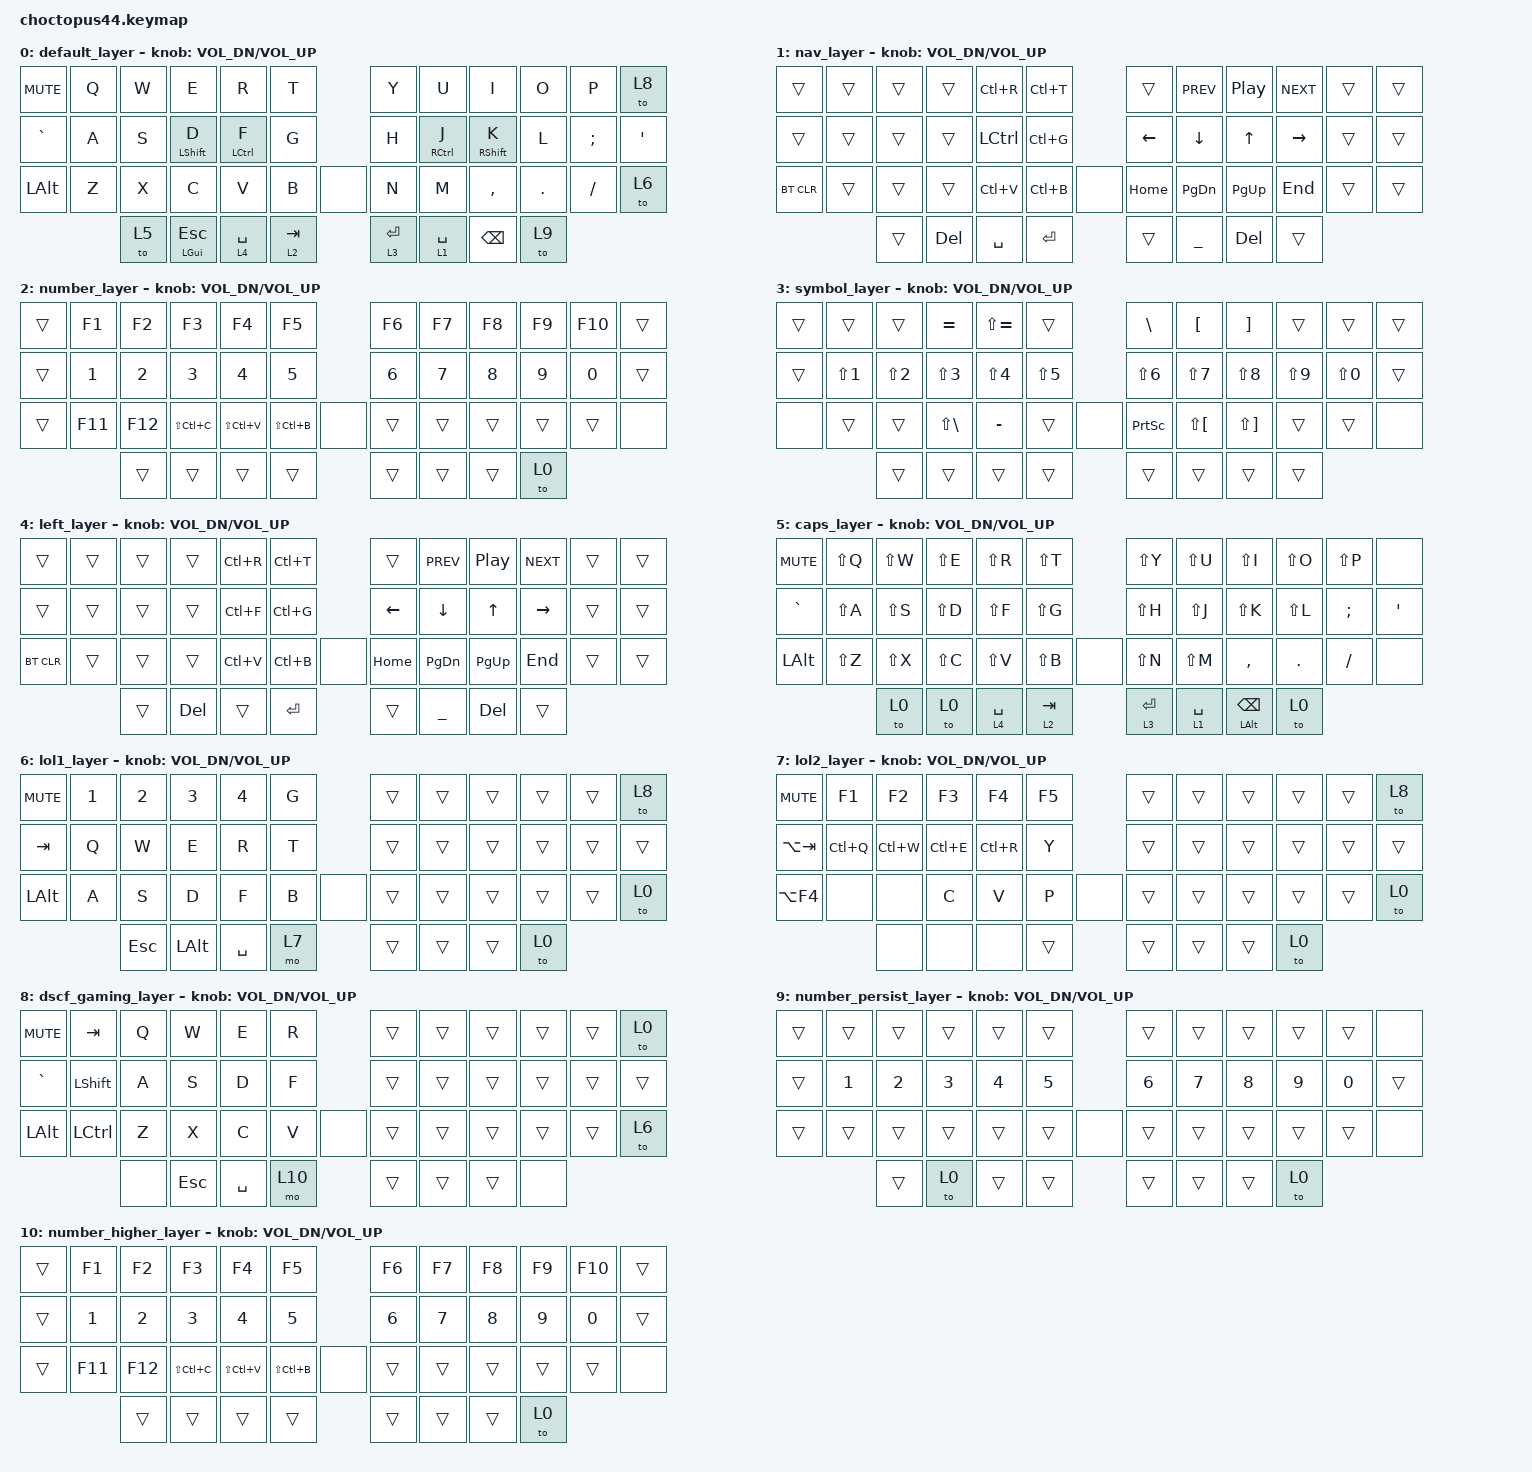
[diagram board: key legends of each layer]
/*
 * Copyright (c) 2021 The ZMK Contributors
 *
 * SPDX-License-Identifier: MIT
 */

#include <behaviors.dtsi>
#include <dt-bindings/zmk/keys.h>
#include <dt-bindings/zmk/bt.h>

&mt {
    tapping-term-ms = <210>; // must be greater than quick tap!
    flavor = "tap-preferred";
    quick-tap-ms = <190>; // must be smaler than tapping term!
};

/ {

    leds {
        compatible = "gpio-leds";
        user_led: led_0 {
            gpios = <&pro_micro 10 GPIO_ACTIVE_HIGH>;
            label = "User LED";
        };
    };

    aliases {
        indicator-led = &user_led;
    };
};

/ {
  keymap {
    compatible = "zmk,keymap";

    // LAYER 0 BASE QWERTY
    default_layer {
      bindings = <
        &kp C_MUTE  &kp Q     &kp W       &kp E         &kp R        &kp T                  &kp Y        &kp U        &kp I          &kp O    &kp P     &to 8
        &kp GRAVE   &kp A     &kp S       &mt LSHIFT D  &mt LCTRL F  &kp G                  &kp H        &mt RCTRL J  &mt RSHIFT K   &kp L    &kp SEMI  &kp SQT
        &kp LALT    &kp Z     &kp X       &kp C         &kp V        &kp B       &none      &kp N        &kp M        &kp COMMA      &kp DOT  &kp FSLH  &to 6
                              &to 5       &mt LGUI ESC  &lt 4 SPACE  &lt 2 TAB              &lt 3 ENTER  &lt 1 SPACE  &kp BSPC       &to 9
      >;
      sensor-bindings = <&inc_dec_kp C_VOL_DN C_VOL_UP>;
    };

    // LAYER 1 NAVIGATION RIGHT
    nav_layer {
      bindings = <
        &trans   &trans   &trans   &trans   &kp LC(R)  &kp LC(T)              &trans     &kp C_PREV  &kp C_PP   &kp C_NEXT  &trans   &trans
        &trans   &trans   &trans   &trans   &kp LCTRL  &kp LC(G)              &kp LEFT   &kp DOWN    &kp UP     &kp RIGHT   &trans   &trans
      &bt BT_CLR &trans   &trans   &trans   &kp LC(V)  &kp LC(B)    &none     &kp HOME   &kp PG_DN   &kp PG_UP  &kp END     &trans   &trans
                          &trans   &kp DEL  &kp SPACE  &kp ENTER              &trans     &kp UNDER   &kp DEL    &trans
      >;
      sensor-bindings = <&inc_dec_kp C_VOL_DN C_VOL_UP>;
    };

    // LAYER 2 NUMBERS
    number_layer  {
      bindings = <
        &trans   &kp F1    &kp F2     &kp F3      &kp F4       &kp F5                     &kp F6     &kp F7      &kp F8      &kp F9     &kp F10    &trans
        &trans   &kp N1    &kp N2     &kp N3      &kp N4       &kp N5                     &kp N6     &kp N7      &kp N8      &kp N9     &kp N0     &trans
        &trans   &kp F11  &kp F12  &kp LS(LC(C)) &kp LS(LC(V)) &kp LS(LC(B))  &none       &trans     &trans      &trans      &trans     &trans     &none
                           &trans     &trans      &trans       &trans                     &trans     &trans      &trans      &to 0
      >;
      sensor-bindings = <&inc_dec_kp C_VOL_DN C_VOL_UP>;
    };


    // LAYER 3 SYMBOLS
    symbol_layer {
      bindings = <
        &trans    &trans   &trans     &kp EQUAL    &kp LS(EQUAL) &trans                   &kp BSLH   &kp LBKT     &kp RBKT     &trans     &trans     &trans
        &trans  &kp LS(N1) &kp LS(N2) &kp LS(N3)    &kp LS(N4) &kp LS(N5)                 &kp LS(N6) &kp LS(N7)   &kp LS(N8)   &kp LS(N9) &kp LS(N0) &trans
        &none     &trans   &trans     &kp LS(BSLH)  &kp MINUS  &trans        &none        &kp PSCRN  &kp LS(LBKT) &kp LS(RBKT) &trans     &trans     &none
                           &trans     &trans        &trans     &trans                     &trans     &trans       &trans       &trans
      >;
      sensor-bindings = <&inc_dec_kp C_VOL_DN C_VOL_UP>;
    };

    // LAYER 4 NAVIGATION LEFT
    left_layer {
      bindings = <
        &trans   &trans   &trans   &trans   &kp LC(R)  &kp LC(T)              &trans     &kp C_PREV  &kp C_PP   &kp C_NEXT  &trans   &trans
        &trans   &trans   &trans   &trans   &kp LC(F)  &kp LC(G)              &kp LEFT   &kp DOWN    &kp UP     &kp RIGHT   &trans   &trans
      &bt BT_CLR &trans   &trans   &trans   &kp LC(V)  &kp LC(B)    &none     &kp HOME   &kp PG_DN   &kp PG_UP  &kp END     &trans   &trans
                          &trans   &kp DEL  &trans     &kp ENTER              &trans     &kp UNDER   &kp DEL    &trans
      >;
      sensor-bindings = <&inc_dec_kp C_VOL_DN C_VOL_UP>;
    };

    // LAYER 5 CAPS LAYER
    caps_layer {
      bindings = <
        &kp C_MUTE  &kp LS(Q)  &kp LS(W)     &kp LS(E)        &kp LS(R)        &kp LS(T)                &kp LS(Y)    &kp LS(U)        &kp LS(I)        &kp LS(O)    &kp LS(P)     &none
        &kp GRAVE   &kp LS(A)  &kp LS(S)     &kp LS(D)        &kp LS(F)        &kp LS(G)                &kp LS(H)    &kp LS(J)        &kp LS(K)        &kp LS(L)    &kp SEMI      &kp SQT
        &kp LALT    &kp LS(Z)  &kp LS(X)     &kp LS(C)        &kp LS(V)        &kp LS(B)       &none    &kp LS(N)    &kp LS(M)        &kp COMMA        &kp DOT      &kp FSLH      &none
                               &to 0         &to 0            &lt 4 SPACE      &lt 2 TAB                &lt 3 ENTER  &lt 1 SPACE      &mt LALT BSPC    &to 0
      >;
      sensor-bindings = <&inc_dec_kp C_VOL_DN C_VOL_UP>;
    };

    // LAYER 6 LOL1 (Gaming Base)
    lol1_layer {
      bindings = <
          &kp C_MUTE &kp N1    &kp N2    &kp N3    &kp N4    &kp G               &trans    &trans    &trans    &trans    &trans    &to 8
          &kp TAB    &kp Q     &kp W     &kp E     &kp R     &kp T               &trans    &trans    &trans    &trans    &trans    &trans
          &kp LALT   &kp A     &kp S     &kp D     &kp F     &kp B    &none      &trans    &trans    &trans    &trans    &trans    &to 0
                               &kp ESC   &kp LALT  &kp SPACE &mo 7               &trans    &trans    &trans    &to 0
      >;
      sensor-bindings = <&inc_dec_kp C_VOL_DN C_VOL_UP>;
    };

    // LAYER 7 LOL2 (Gaming Utilities)
    lol2_layer {
      bindings = <
          &kp C_MUTE      &kp F1       &kp F2       &kp F3    &kp F4    &kp F5          &trans    &trans    &trans    &trans    &trans    &to 8
          &kp LA(TAB)     &kp LC(Q)    &kp LC(W)    &kp LC(E) &kp LC(R) &kp Y           &trans    &trans    &trans    &trans    &trans    &trans
          &kp LA(F4)      &none        &none        &kp C     &kp V     &kp P    &none  &trans    &trans    &trans    &trans    &trans    &to 0
                                       &none        &none     &none     &trans          &trans    &trans    &trans    &to 0
      >;
      sensor-bindings = <&inc_dec_kp C_VOL_DN C_VOL_UP>;
    };

    // LAYER 8 DSCF (WASD) Gaming Layer
    dscf_gaming_layer {
      bindings = <
        &kp C_MUTE  &kp TAB    &kp Q     &kp W         &kp E         &kp R                         &trans       &trans       &trans         &trans   &trans    &to 0
        &kp GRAVE   &kp LSHFT  &kp A     &kp S         &kp D         &kp F                         &trans       &trans       &trans         &trans   &trans    &trans
        &kp LALT    &kp LCTRL  &kp Z     &kp X         &kp C         &kp V         &none           &trans       &trans       &trans         &trans   &trans    &to 6
                               &none     &kp ESC      &kp SPACE      &mo 10                          &trans       &trans       &trans        &none
      >;
      sensor-bindings = <&inc_dec_kp C_VOL_DN C_VOL_UP>;
    };

    // LAYER 9 NUMBERS PERSIST
    number_persist_layer  {
      bindings = <
        &trans   &trans    &trans     &trans      &trans       &trans                     &trans     &trans      &trans      &trans     &trans     &none
        &trans   &kp N1    &kp N2     &kp N3      &kp N4       &kp N5                     &kp N6     &kp N7      &kp N8      &kp N9     &kp N0     &trans
        &trans   &trans    &trans     &trans      &trans       &trans         &none       &trans     &trans      &trans      &trans     &trans     &none
                           &trans     &to 0       &trans       &trans                     &trans     &trans      &trans      &to 0
      >;
      sensor-bindings = <&inc_dec_kp C_VOL_DN C_VOL_UP>;
    };

    // LAYER 10 HIGHER NUMBERS
    number_higher_layer  {
      bindings = <
        &trans   &kp F1    &kp F2     &kp F3      &kp F4       &kp F5                     &kp F6     &kp F7      &kp F8      &kp F9     &kp F10    &trans
        &trans   &kp N1    &kp N2     &kp N3      &kp N4       &kp N5                     &kp N6     &kp N7      &kp N8      &kp N9     &kp N0     &trans
        &trans   &kp F11  &kp F12  &kp LS(LC(C)) &kp LS(LC(V)) &kp LS(LC(B))  &none       &trans     &trans      &trans      &trans     &trans     &none
                           &trans     &trans      &trans       &trans                     &trans     &trans      &trans      &to 0
      >;
      sensor-bindings = <&inc_dec_kp C_VOL_DN C_VOL_UP>;
    };

  };
};
